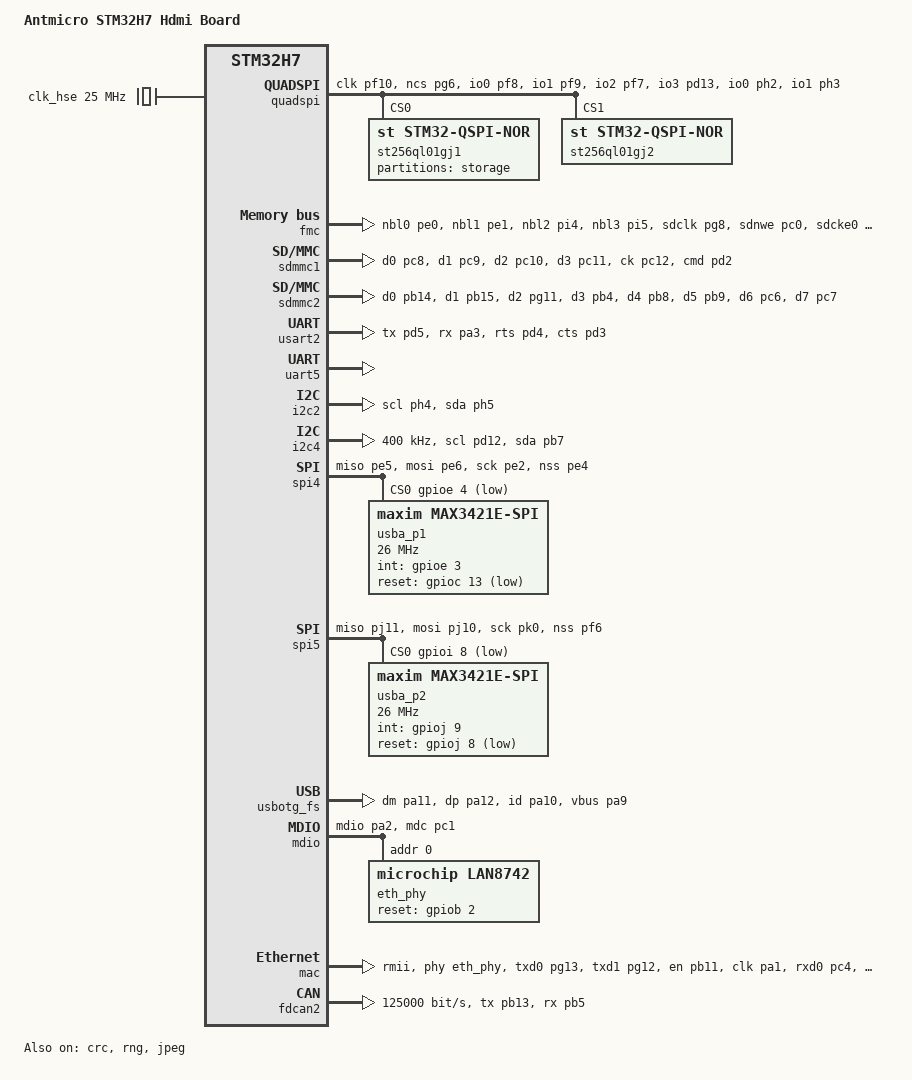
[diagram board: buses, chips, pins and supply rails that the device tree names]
/*
 * Copyright (c) 2026 Antmicro <www.antmicro.com>
 * SPDX-License-Identifier: Apache-2.0
 */

/dts-v1/;
#include <st/h7/stm32h747Xi_m7.dtsi>
#include <st/h7/stm32h747xihx-pinctrl.dtsi>
#include <zephyr/dt-bindings/clock/stm32h7_clock.h>
#include <zephyr/dt-bindings/i2c/i2c.h>
#include <zephyr/dt-bindings/memory-attr/memory-attr-arm.h>
#include "stm32h7_hdmi_board.dtsi"

/ {
	model = "Antmicro STM32H7 Hdmi Board";
	compatible = "antmicro,stm32h7-hdmi-board";

	chosen {
		zephyr,crc = &crc;
		zephyr,entropy = &rng;
		zephyr,console = &uart5;
		zephyr,shell-uart = &uart5;
		zephyr,sram = &sram0;
		zephyr,flash = &flash0;
		zephyr,flash-controller = &st256ql01gj1;
		zephyr,canbus = &fdcan2;
	};

	aliases {
		led0 = &led_g;
		led1 = &led_r;
		led2 = &led_b;
		sw0 = &user_btn;
	};

	sdram2: sdram@d0000000 {
		compatible = "zephyr,memory-region", "mmio-sram";
		device_type = "memory";
		reg = <0xd0000000 DT_SIZE_M(32)>;
		zephyr,memory-region = "SDRAM2";
		zephyr,memory-attr = <DT_MEM_ARM(ATTR_MPU_RAM)>;
	};

	ext_memory: memory@90000000 {
		compatible = "zephyr,memory-region";
		reg = <0x90000000 DT_SIZE_G(2)>; /* 2 Gbits */
		zephyr,memory-region = "EXTMEM";
		zephyr,memory-attr = <DT_MEM_ARM(ATTR_MPU_FLASH)>;
	};
};

&clk_hse {
	clock-frequency = <DT_FREQ_M(25)>;
	hse-bypass;
	status = "okay";
};

&clk_hsi48 {
	status = "okay";
};

&pll {
	div-m = <5>;
	mul-n = <160>;
	div-p = <2>;
	div-q = <4>;
	div-r = <2>;
	clocks = <&clk_hse>;
	status = "okay";
};

&pll2 {
	div-m = <5>;
	mul-n = <96>;
	div-p = <2>;
	div-q = <4>;
	div-r = <10>;
	clocks = <&clk_hse>;  /* Assuming 25MHz HSE */
	status = "okay";
};

&rcc {
	clocks = <&pll>;
	clock-frequency = <DT_FREQ_M(400)>;
};

&quadspi {
	pinctrl-0 = <&quadspi_clk_pf10 &quadspi_bk1_ncs_pg6
		     &quadspi_bk1_io0_pf8 &quadspi_bk1_io1_pf9
		     &quadspi_bk1_io2_pf7 &quadspi_bk1_io3_pd13
		     &quadspi_bk2_io0_ph2 &quadspi_bk2_io1_ph3
		     &quadspi_bk2_io2_pg9 &quadspi_bk2_io3_pg14>;
	pinctrl-names = "default";
	dual-flash;
	ssht-enable;
	status = "okay";

	st256ql01gj1: qspi-nor-flash@0 {
		compatible = "st,stm32-qspi-nor";
		reg = <0>;
		size = <DT_SIZE_G(1)>; /* 1 Gbits */
		qspi-max-frequency = <72000000>;
		cs-high-time = <4>;
		spi-bus-width = <4>;
		reset-cmd;

		partitions {
			compatible = "fixed-partitions";
			#address-cells = <1>;
			#size-cells = <1>;

			storage_partition: partition@0 {
				label = "storage";
				reg = <0 DT_SIZE_M(128)>;
			};
		};
	};

	st256ql01gj2: qspi-nor-flash@1 {
		compatible = "st,stm32-qspi-nor";
		reg = <1>;
		size = <DT_SIZE_G(1)>; /* 1 Gbits */
		qspi-max-frequency = <72000000>;
		reset-cmd;
	};
};

&fmc {
	status = "okay";
	pinctrl-0 = <&fmc_nbl0_pe0 &fmc_nbl1_pe1 &fmc_nbl2_pi4 &fmc_nbl3_pi5
		     &fmc_sdclk_pg8 &fmc_sdnwe_pc0 &fmc_sdcke0_pc3 &fmc_sdne0_pc2
		     &fmc_sdcke1_ph7 &fmc_sdne1_ph6 &fmc_sdnras_pf11 &fmc_sdncas_pg15
		     &fmc_a0_pf0 &fmc_a1_pf1 &fmc_a2_pf2 &fmc_a3_pf3 &fmc_a4_pf4
		     &fmc_a5_pf5 &fmc_a6_pf12 &fmc_a7_pf13 &fmc_a8_pf14
		     &fmc_a9_pf15 &fmc_a10_pg0 &fmc_a11_pg1 &fmc_a12_pg2
		     &fmc_a14_pg4 &fmc_a15_pg5 &fmc_d0_pd14 &fmc_d1_pd15
		     &fmc_d2_pd0 &fmc_d3_pd1 &fmc_d4_pe7 &fmc_d5_pe8 &fmc_d6_pe9
		     &fmc_d7_pe10 &fmc_d8_pe11 &fmc_d9_pe12 &fmc_d10_pe13
		     &fmc_d11_pe14 &fmc_d12_pe15 &fmc_d13_pd8 &fmc_d14_pd9
		     &fmc_d15_pd10 &fmc_d16_ph8 &fmc_d17_ph9 &fmc_d18_ph10
		     &fmc_d19_ph11 &fmc_d20_ph12 &fmc_d21_ph13 &fmc_d22_ph14
		     &fmc_d23_ph15 &fmc_d24_pi0 &fmc_d25_pi1 &fmc_d26_pi2
		     &fmc_d27_pi3 &fmc_d28_pi6 &fmc_d29_pi7 &fmc_d30_pi9
		     &fmc_d31_pi10>;
	pinctrl-names = "default";

	/* Give alias for easy access in overlays */
	fmc_sdram: sdram {};
};

&sdmmc1 {
	clocks = <&rcc STM32_CLOCK(AHB3, 16)>,
		 <&rcc STM32_SRC_PLL2_R SDMMC_SEL(1)>;
	pinctrl-0 = <&sdmmc1_d0_pc8 &sdmmc1_d1_pc9
		     &sdmmc1_d2_pc10 &sdmmc1_d3_pc11
		     &sdmmc1_ck_pc12 &sdmmc1_cmd_pd2>;
	pinctrl-names = "default";
	cd-gpios = <&gpioa 8 GPIO_ACTIVE_LOW>;
	disk-name = "SD";
	status = "okay";
};

&sdmmc2 {
	clocks = <&rcc STM32_CLOCK(AHB2, 9)>,
		 <&rcc STM32_SRC_PLL2_R SDMMC_SEL(1)>;
	pinctrl-0 = <&sdmmc2_d0_pb14 &sdmmc2_d1_pb15
		     &sdmmc2_d2_pg11 &sdmmc2_d3_pb4
		     &sdmmc2_d4_pb8 &sdmmc2_d5_pb9
		     &sdmmc2_d6_pc6 &sdmmc2_d7_pc7
		     &sdmmc2_ck_pd6 &sdmmc2_cmd_pa0>;
	pinctrl-names = "default";
	disk-name = "eMMC";
	status = "okay";
};

pmod_uart: &usart2 {
	pinctrl-0 = <&usart2_tx_pd5
		     &usart2_rx_pa3
		     &usart2_rts_pd4
		     &usart2_cts_pd3>;
	pinctrl-names = "default";
};

&uart5 {
	status = "okay";
};

&i2c2 {
	pinctrl-0 = <&i2c2_scl_ph4 &i2c2_sda_ph5>;
	pinctrl-names = "default";
};

&i2c4 {
	pinctrl-0 = <&i2c4_scl_pd12 &i2c4_sda_pb7>;
	pinctrl-names = "default";
	scl-gpios = <&gpiod 12 GPIO_ACTIVE_HIGH>;
	sda-gpios = <&gpiob 7 GPIO_ACTIVE_HIGH>;
	clock-frequency = <I2C_BITRATE_FAST>;
	status = "okay";
};

&spi4 {
	pinctrl-0 = <&spi4_miso_pe5
		     &spi4_mosi_pe6
		     &spi4_sck_pe2
		     &spi4_nss_pe4>;
	pinctrl-names = "default";
	status = "okay";
	cs-gpios = <&gpioe 4 GPIO_ACTIVE_LOW>;

	usba_p1: zephyr_uhc0: max3421e@0 {
		compatible = "maxim,max3421e-spi";
		reg = <0>;
		int-gpios = <&gpioe 3 GPIO_ACTIVE_HIGH>;
		reset-gpios = <&gpioc 13 (GPIO_PULL_UP | GPIO_ACTIVE_LOW)>;
		spi-max-frequency = <26000000>;
	};
};

pmod_spi: &spi5 {
	pinctrl-0 = <&spi5_miso_pj11
		     &spi5_mosi_pj10
		     &spi5_sck_pk0
		     &spi5_nss_pf6>;
	pinctrl-names = "default";
	status = "okay";
	cs-gpios = <&gpioi 8 GPIO_ACTIVE_LOW>;

	usba_p2: zephyr_uhc1: max3421e@0 {
		compatible = "maxim,max3421e-spi";
		reg = <0>;
		int-gpios = <&gpioj 9 GPIO_ACTIVE_HIGH>;
		reset-gpios = <&gpioj 8 (GPIO_PULL_UP | GPIO_ACTIVE_LOW)>;
		spi-max-frequency = <26000000>;
	};
};

zephyr_udc0: &usbotg_fs {
	pinctrl-0 = <&usb_otg_fs_dm_pa11
		     &usb_otg_fs_dp_pa12
		     &usb_otg_fs_id_pa10
		     &usb_otg_fs_vbus_pa9>;
	pinctrl-names = "default";
	status = "okay";
};

&mdio {
	pinctrl-0 = <&eth_mdio_pa2 &eth_mdc_pc1>;
	pinctrl-names = "default";
	status = "okay";

	eth_phy: ethernet-phy@0 {
		compatible = "microchip,lan8742";
		reg = <0>;
		reset-gpios = <&gpiob 2 GPIO_ACTIVE_HIGH>;
	};
};

&mac {
	pinctrl-0 = <&eth_txd0_pg13
		     &eth_txd1_pg12
		     &eth_tx_en_pb11
		     &eth_ref_clk_pa1
		     &eth_rxd0_pc4
		     &eth_rxd1_pc5
		     &eth_crs_dv_pa7>;
	pinctrl-names = "default";
	phy-connection-type = "rmii";
	phy-handle = <&eth_phy>;
	status = "okay";
};

&fdcan2 {
	status = "okay";
	pinctrl-0 = <&fdcan2_tx_pb13 &fdcan2_rx_pb5>;
	pinctrl-names = "default";
	clocks = <&rcc STM32_CLOCK(APB1_2, 8)>,
		 <&rcc STM32_SRC_PLL2_Q FDCAN_SEL(2)>;
	bitrate = <125000>;

	can-transceiver {
		max-bitrate = <8000000>;
	};
};

&crc {
	status = "okay";
};

&rng {
	status = "okay";
};

zephyr_jpegenc: &jpeg {
	status = "okay";
};
